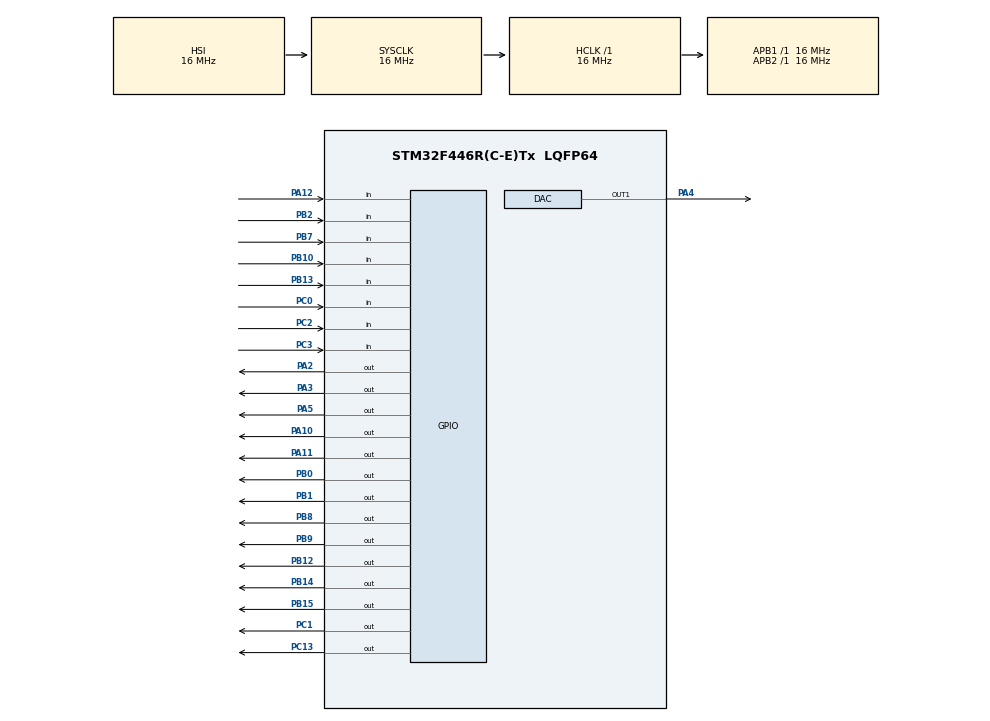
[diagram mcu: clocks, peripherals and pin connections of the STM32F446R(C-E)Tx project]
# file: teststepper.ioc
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Mcu.Family=STM32F4
Mcu.Name=STM32F446R(C-E)Tx
Mcu.Package=LQFP64
NVIC.PriorityGroup=NVIC_PRIORITYGROUP_4
NVIC.TIM1_UP_TIM10_IRQn=true\:0\:0\:false\:false\:true\:true\:true\:true
NVIC.TIM8_UP_TIM13_IRQn=true\:0\:0\:false\:false\:true\:true\:true\:true
PA10.Signal=GPIO_Output
PA11.Signal=GPIO_Output
PA12.Signal=GPIO_Input
PA2.Signal=GPIO_Output
PA3.Signal=GPIO_Output
PA4.Signal=COMP_DAC1_group
PA5.Signal=GPIO_Output
PB0.Signal=GPIO_Output
PB1.Signal=GPIO_Output
PB10.Signal=GPIO_Input
PB12.Signal=GPIO_Output
PB13.Signal=GPIO_Input
PB14.Signal=GPIO_Output
PB15.Signal=GPIO_Output
PB2.Signal=GPIO_Input
PB7.Signal=GPIO_Input
PB8.Signal=GPIO_Output
PB9.Signal=GPIO_Output
PC0.Signal=GPIO_Input
PC1.Signal=GPIO_Output
PC13.Signal=GPIO_Output
PC2.Signal=GPIO_Input
PC3.Signal=GPIO_Input
ProjectManager.HeapSize=0x200
ProjectManager.StackSize=0x400
ProjectManager.TargetToolchain=STM32CubeIDE
RCC.AHBFreq_Value=16000000
RCC.APB1Freq_Value=16000000
RCC.APB1TimFreq_Value=16000000
RCC.APB2Freq_Value=16000000
RCC.APB2TimFreq_Value=16000000
RCC.CortexFreq_Value=16000000
RCC.HCLKFreq_Value=16000000
RCC.SYSCLKFreq_VALUE=16000000
RCC.USBFreq_Value=96000000
RCC.VCOOutputFreq_Value=192000000
SH.COMP_DAC1_group.0=DAC_OUT1,DAC_OUT1
TIM1.Period=9999
TIM1.Prescaler=0
TIM8.Period=49999
TIM8.Prescaler=239
VP_TIM1_VS_ClockSourceINT.Mode=Internal
VP_TIM8_VS_ClockSourceINT.Mode=Internal
board=custom

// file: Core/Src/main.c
/* USER CODE BEGIN Header */
/**
  ******************************************************************************
  * @file           : main.c
  * @brief          : Main program body
  ******************************************************************************
  * @attention
  *
  * Copyright (c) 2022 STMicroelectronics.
  * All rights reserved.
  *
  * This software is licensed under terms that can be found in the LICENSE file
  * in the root directory of this software component.
  * If no LICENSE file comes with this software, it is provided AS-IS.
  *
  ******************************************************************************
  */
/* USER CODE END Header */
#include "main.h"

/* USER CODE BEGIN Includes */

#include "stepper.h"
/* USER CODE END Includes */

 DAC_HandleTypeDef hdac;

TIM_HandleTypeDef htim1;
TIM_HandleTypeDef htim8;

/* USER CODE BEGIN PV */
uint16_t adc = 0;
Stepper stepperA;
Stepper stepperB;
/* USER CODE END PV */

void SystemClock_Config(void);
static void MX_GPIO_Init(void);
static void MX_TIM1_Init(void);
static void MX_TIM8_Init(void);
static void MX_DAC_Init(void);
/* USER CODE BEGIN PFP */

void boost_stepper(Stepper *stepper, TIM_HandleTypeDef *timer); //ускорение двигателя
void stop_boosting(Stepper *stepper, TIM_HandleTypeDef *timer);
/* USER CODE END PFP */

/* USER CODE BEGIN 0 */
void HAL_TIM_PeriodElapsedCallback(TIM_HandleTypeDef *htim)
{
        if(htim->Instance == TIM1) //check if the interrupt comes from TIM1
        {
//                HAL_GPIO_TogglePin(GPIOA, GPIO_PIN_3);

        	if (stepperA.state != Wait)
        	{
                HAL_GPIO_TogglePin(stepperA.step_port, stepperA.step_pin);
                boost_stepper(&stepperA, htim);
        	}
        	else
        	{
        		stop_boosting(&stepperA, htim);
        	}
        }

        if(htim->Instance == TIM8) //check if the interrupt comes from TIM1
		{
        	if (stepperB.state != Wait)
			{
				HAL_GPIO_TogglePin(stepperB.step_port, stepperB.step_pin);
				boost_stepper(&stepperB, htim);
			}
			else
			{
				stop_boosting(&stepperB, htim);
			}
		}
}

void boost_stepper(Stepper *stepper, TIM_HandleTypeDef *timer) //ускорение двигателя
{
	stepper->countTimer++;
	if (stepper->countTimer>50)
	{
		if (stepper->timerPeriod > 7999)
		{
			stepper->timerPeriod -= 500;
			__HAL_TIM_SET_AUTORELOAD(timer, stepper->timerPeriod);
		}

		stepper->countTimer = 0;

	}
}

void stop_boosting(Stepper *stepper, TIM_HandleTypeDef *timer)
{
	stepper->timerPeriod = 29999;
	__HAL_TIM_SET_AUTORELOAD(timer, stepper->timerPeriod);

}

/* USER CODE END 0 */

int main(void)
{
  /* USER CODE BEGIN 1 */
	 stepper_init(&stepperA, GPIOB, GPIO_PIN_0, GPIOA, GPIO_PIN_2, GPIOA, GPIO_PIN_3);
	 	 buttons_init(&stepperA, GPIOB, GPIO_PIN_13, GPIOC, GPIO_PIN_0);
	 	 enders_init(&stepperA, GPIOC, GPIO_PIN_3, GPIOC, GPIO_PIN_2);
	 	 end_leds_init(&stepperA, GPIOB, GPIO_PIN_9, GPIOC, GPIO_PIN_1);
	 stepper_init(&stepperB, GPIOA, GPIO_PIN_10, GPIOB, GPIO_PIN_1, GPIOB, GPIO_PIN_14);
	 	 buttons_init(&stepperB, GPIOA, GPIO_PIN_12, GPIOB, GPIO_PIN_7);
	 	 enders_init(&stepperB, GPIOB, GPIO_PIN_10, GPIOB, GPIO_PIN_2);
	 	 end_leds_init(&stepperB, GPIOA, GPIO_PIN_11, GPIOB, GPIO_PIN_8);
  /* USER CODE END 1 */

  /* MCU Configuration--------------------------------------------------------*/

  /* Reset of all peripherals, Initializes the Flash interface and the Systick. */
  HAL_Init();

  /* Configure the system clock */
  SystemClock_Config();

  /* Initialize all configured peripherals */
  MX_GPIO_Init();
  MX_TIM1_Init();
  MX_TIM8_Init();
  MX_DAC_Init();
  /* USER CODE BEGIN 2 */

  //HAL_ADC_Start(&hadc1); // запускаем преобразование сигнала АЦП

  __HAL_TIM_CLEAR_FLAG(&htim1, TIM_SR_UIF); // очищаем флаг
  HAL_TIM_Base_Start_IT(&htim1);

  __HAL_TIM_CLEAR_FLAG(&htim8, TIM_SR_UIF); // очищаем флаг
  HAL_TIM_Base_Start_IT(&htim8);

  HAL_DAC_Start(&hdac,DAC_CHANNEL_1);
  HAL_DAC_SetValue(&hdac,DAC_CHANNEL_1,DAC_ALIGN_12B_R,1400);

  /* USER CODE END 2 */

  /* Infinite loop */
  /* USER CODE BEGIN WHILE */

  HAL_GPIO_WritePin(GPIOA, GPIO_PIN_5, GPIO_PIN_SET); //sleep A
  HAL_GPIO_WritePin(GPIOB, GPIO_PIN_15, GPIO_PIN_SET); //sleep B

  HAL_Delay(1);

    HAL_GPIO_WritePin(stepperA.enable_port, stepperA.enable_pin, GPIO_PIN_SET); //enable A
    HAL_Delay(1);

    HAL_GPIO_WritePin(stepperB.enable_port, stepperB.enable_pin, GPIO_PIN_SET); //enable B

    check_enders(&stepperA);
    check_enders(&stepperB);

  while (1)
  {
	  check_buttons(&stepperA);
	  check_buttons(&stepperB);

	  check_enders(&stepperA);
	  check_enders(&stepperB);

	  stepper_tick(&stepperA);
	  stepper_tick(&stepperB);

	  HAL_Delay(10);

    /* USER CODE END WHILE */

  }
}

void SystemClock_Config(void)
{
  RCC_OscInitTypeDef RCC_OscInitStruct = {0};
  RCC_ClkInitTypeDef RCC_ClkInitStruct = {0};

  /** Configure the main internal regulator output voltage
  */
  __HAL_RCC_PWR_CLK_ENABLE();
  __HAL_PWR_VOLTAGESCALING_CONFIG(PWR_REGULATOR_VOLTAGE_SCALE3);

  /** Initializes the RCC Oscillators according to the specified parameters
  * in the RCC_OscInitTypeDef structure.
  */
  RCC_OscInitStruct.OscillatorType = RCC_OSCILLATORTYPE_HSI;
  RCC_OscInitStruct.HSIState = RCC_HSI_ON;
  RCC_OscInitStruct.HSICalibrationValue = RCC_HSICALIBRATION_DEFAULT;
  RCC_OscInitStruct.PLL.PLLState = RCC_PLL_NONE;
  if (HAL_RCC_OscConfig(&RCC_OscInitStruct) != HAL_OK)
  {
    Error_Handler();
  }

  /** Initializes the CPU, AHB and APB buses clocks
  */
  RCC_ClkInitStruct.ClockType = RCC_CLOCKTYPE_HCLK|RCC_CLOCKTYPE_SYSCLK
                              |RCC_CLOCKTYPE_PCLK1|RCC_CLOCKTYPE_PCLK2;
  RCC_ClkInitStruct.SYSCLKSource = RCC_SYSCLKSOURCE_HSI;
  RCC_ClkInitStruct.AHBCLKDivider = RCC_SYSCLK_DIV1;
  RCC_ClkInitStruct.APB1CLKDivider = RCC_HCLK_DIV1;
  RCC_ClkInitStruct.APB2CLKDivider = RCC_HCLK_DIV1;

  if (HAL_RCC_ClockConfig(&RCC_ClkInitStruct, FLASH_LATENCY_0) != HAL_OK)
  {
    Error_Handler();
  }
}

static void MX_DAC_Init(void)
{

  DAC_ChannelConfTypeDef sConfig = {0};

  /** DAC Initialization
  */
  hdac.Instance = DAC;
  if (HAL_DAC_Init(&hdac) != HAL_OK)
  {
    Error_Handler();
  }

  /** DAC channel OUT1 config
  */
  sConfig.DAC_Trigger = DAC_TRIGGER_NONE;
  sConfig.DAC_OutputBuffer = DAC_OUTPUTBUFFER_ENABLE;
  if (HAL_DAC_ConfigChannel(&hdac, &sConfig, DAC_CHANNEL_1) != HAL_OK)
  {
    Error_Handler();
  }

}

static void MX_TIM1_Init(void)
{

  TIM_ClockConfigTypeDef sClockSourceConfig = {0};
  TIM_MasterConfigTypeDef sMasterConfig = {0};

  htim1.Instance = TIM1;
  htim1.Init.Prescaler = 0;
  htim1.Init.CounterMode = TIM_COUNTERMODE_UP;
  htim1.Init.Period = 29999;
  htim1.Init.ClockDivision = TIM_CLOCKDIVISION_DIV1;
  htim1.Init.RepetitionCounter = 0;
  htim1.Init.AutoReloadPreload = TIM_AUTORELOAD_PRELOAD_DISABLE;
  if (HAL_TIM_Base_Init(&htim1) != HAL_OK)
  {
    Error_Handler();
  }
  sClockSourceConfig.ClockSource = TIM_CLOCKSOURCE_INTERNAL;
  if (HAL_TIM_ConfigClockSource(&htim1, &sClockSourceConfig) != HAL_OK)
  {
    Error_Handler();
  }
  sMasterConfig.MasterOutputTrigger = TIM_TRGO_RESET;
  sMasterConfig.MasterSlaveMode = TIM_MASTERSLAVEMODE_DISABLE;
  if (HAL_TIMEx_MasterConfigSynchronization(&htim1, &sMasterConfig) != HAL_OK)
  {
    Error_Handler();
  }

}

static void MX_TIM8_Init(void)
{

  TIM_ClockConfigTypeDef sClockSourceConfig = {0};
  TIM_MasterConfigTypeDef sMasterConfig = {0};

  htim8.Instance = TIM8;
  htim8.Init.Prescaler = 0;
  htim8.Init.CounterMode = TIM_COUNTERMODE_UP;
  htim8.Init.Period = 29999;
  htim8.Init.ClockDivision = TIM_CLOCKDIVISION_DIV1;
  htim8.Init.RepetitionCounter = 0;
  htim8.Init.AutoReloadPreload = TIM_AUTORELOAD_PRELOAD_DISABLE;
  if (HAL_TIM_Base_Init(&htim8) != HAL_OK)
  {
    Error_Handler();
  }
  sClockSourceConfig.ClockSource = TIM_CLOCKSOURCE_INTERNAL;
  if (HAL_TIM_ConfigClockSource(&htim8, &sClockSourceConfig) != HAL_OK)
  {
    Error_Handler();
  }
  sMasterConfig.MasterOutputTrigger = TIM_TRGO_RESET;
  sMasterConfig.MasterSlaveMode = TIM_MASTERSLAVEMODE_DISABLE;
  if (HAL_TIMEx_MasterConfigSynchronization(&htim8, &sMasterConfig) != HAL_OK)
  {
    Error_Handler();
  }

}

static void MX_GPIO_Init(void)
{
  GPIO_InitTypeDef GPIO_InitStruct = {0};

  /* GPIO Ports Clock Enable */
  __HAL_RCC_GPIOC_CLK_ENABLE();
  __HAL_RCC_GPIOA_CLK_ENABLE();
  __HAL_RCC_GPIOB_CLK_ENABLE();

  /*Configure GPIO pin Output Level */
  HAL_GPIO_WritePin(GPIOC, GPIO_PIN_13|GPIO_PIN_1, GPIO_PIN_RESET);

  /*Configure GPIO pin Output Level */
  HAL_GPIO_WritePin(GPIOA, GPIO_PIN_2|GPIO_PIN_3|GPIO_PIN_5|GPIO_PIN_10
                          |GPIO_PIN_11, GPIO_PIN_RESET);

  /*Configure GPIO pin Output Level */
  HAL_GPIO_WritePin(GPIOB, GPIO_PIN_0|GPIO_PIN_1|GPIO_PIN_12|GPIO_PIN_14
                          |GPIO_PIN_15|GPIO_PIN_8|GPIO_PIN_9, GPIO_PIN_RESET);

  /*Configure GPIO pins : PC13 PC1 */
  GPIO_InitStruct.Pin = GPIO_PIN_13|GPIO_PIN_1;
  GPIO_InitStruct.Mode = GPIO_MODE_OUTPUT_PP;
  GPIO_InitStruct.Pull = GPIO_NOPULL;
  GPIO_InitStruct.Speed = GPIO_SPEED_FREQ_LOW;
  HAL_GPIO_Init(GPIOC, &GPIO_InitStruct);

  /*Configure GPIO pins : PC0 PC2 PC3 */
  GPIO_InitStruct.Pin = GPIO_PIN_0|GPIO_PIN_2|GPIO_PIN_3;
  GPIO_InitStruct.Mode = GPIO_MODE_INPUT;
  GPIO_InitStruct.Pull = GPIO_NOPULL;
  HAL_GPIO_Init(GPIOC, &GPIO_InitStruct);

  /*Configure GPIO pins : PA2 PA3 PA5 PA10
                           PA11 */
  GPIO_InitStruct.Pin = GPIO_PIN_2|GPIO_PIN_3|GPIO_PIN_5|GPIO_PIN_10
                          |GPIO_PIN_11;
  GPIO_InitStruct.Mode = GPIO_MODE_OUTPUT_PP;
  GPIO_InitStruct.Pull = GPIO_NOPULL;
  GPIO_InitStruct.Speed = GPIO_SPEED_FREQ_LOW;
  HAL_GPIO_Init(GPIOA, &GPIO_InitStruct);

  /*Configure GPIO pins : PB0 PB1 PB12 PB14
                           PB15 PB8 PB9 */
  GPIO_InitStruct.Pin = GPIO_PIN_0|GPIO_PIN_1|GPIO_PIN_12|GPIO_PIN_14
                          |GPIO_PIN_15|GPIO_PIN_8|GPIO_PIN_9;
  GPIO_InitStruct.Mode = GPIO_MODE_OUTPUT_PP;
  GPIO_InitStruct.Pull = GPIO_NOPULL;
  GPIO_InitStruct.Speed = GPIO_SPEED_FREQ_LOW;
  HAL_GPIO_Init(GPIOB, &GPIO_InitStruct);

  /*Configure GPIO pins : PB2 PB10 PB13 PB7 */
  GPIO_InitStruct.Pin = GPIO_PIN_2|GPIO_PIN_10|GPIO_PIN_13|GPIO_PIN_7;
  GPIO_InitStruct.Mode = GPIO_MODE_INPUT;
  GPIO_InitStruct.Pull = GPIO_NOPULL;
  HAL_GPIO_Init(GPIOB, &GPIO_InitStruct);

  /*Configure GPIO pin : PA12 */
  GPIO_InitStruct.Pin = GPIO_PIN_12;
  GPIO_InitStruct.Mode = GPIO_MODE_INPUT;
  GPIO_InitStruct.Pull = GPIO_NOPULL;
  HAL_GPIO_Init(GPIOA, &GPIO_InitStruct);

}

/* USER CODE BEGIN 4 */

void HAL_GPIO_EXTI_Callback(uint16_t GPIO_Pin){

}

/* USER CODE END 4 */

void Error_Handler(void)
{
  __disable_irq();
  while (1)
  {
  }
}
